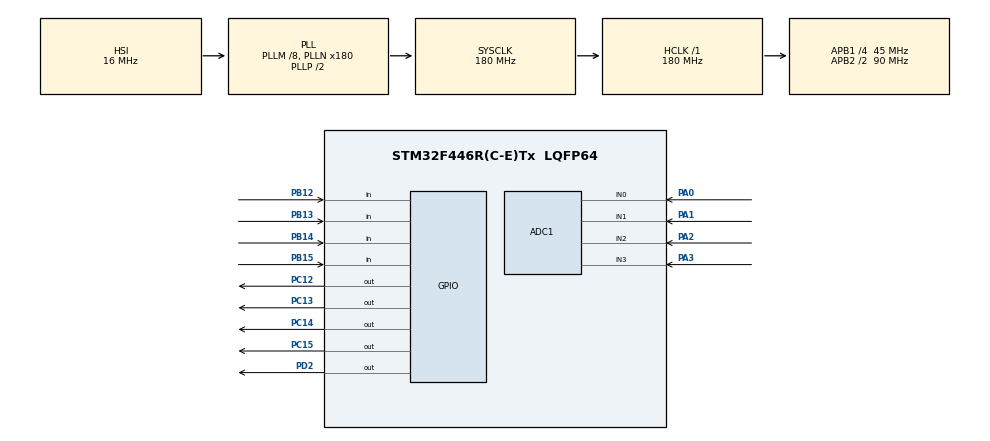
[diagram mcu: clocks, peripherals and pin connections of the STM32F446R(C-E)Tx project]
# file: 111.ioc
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ADC1.Channel-0\#ChannelRegularConversion=ADC_CHANNEL_0
ADC1.Channel-1\#ChannelInjectedConversion=ADC_CHANNEL_0
ADC1.Channel-2\#ChannelInjectedConversion=ADC_CHANNEL_0
ADC1.Channel-3\#ChannelInjectedConversion=ADC_CHANNEL_0
ADC1.Channel-5\#ChannelInjectedConversion=ADC_CHANNEL_0
ADC1.Channel-6\#ChannelRegularConversion=ADC_CHANNEL_1
ADC1.Channel-7\#ChannelRegularConversion=ADC_CHANNEL_2
ADC1.Channel-8\#ChannelRegularConversion=ADC_CHANNEL_3
ADC1.DMAContinuousRequests=ENABLE
ADC1.EOCSelection=ADC_EOC_SINGLE_CONV
ADC1.ExternalTrigConv=ADC_EXTERNALTRIGCONV_T8_TRGO
ADC1.InjNumberOfConversion=4
ADC1.InjectedOffset-1\#ChannelInjectedConversion=0
ADC1.InjectedOffset-2\#ChannelInjectedConversion=0
ADC1.InjectedOffset-3\#ChannelInjectedConversion=0
ADC1.InjectedOffset-5\#ChannelInjectedConversion=0
ADC1.InjectedRank-1\#ChannelInjectedConversion=1
ADC1.InjectedRank-2\#ChannelInjectedConversion=2
ADC1.InjectedRank-3\#ChannelInjectedConversion=3
ADC1.InjectedRank-5\#ChannelInjectedConversion=4
ADC1.NbrOfConversion=4
ADC1.NbrOfConversionFlag=1
ADC1.Rank-0\#ChannelRegularConversion=1
ADC1.Rank-6\#ChannelRegularConversion=2
ADC1.Rank-7\#ChannelRegularConversion=3
ADC1.Rank-8\#ChannelRegularConversion=4
ADC1.SamplingTime-0\#ChannelRegularConversion=ADC_SAMPLETIME_15CYCLES
ADC1.SamplingTime-1\#ChannelInjectedConversion=ADC_SAMPLETIME_3CYCLES
ADC1.SamplingTime-2\#ChannelInjectedConversion=ADC_SAMPLETIME_3CYCLES
ADC1.SamplingTime-3\#ChannelInjectedConversion=ADC_SAMPLETIME_3CYCLES
ADC1.SamplingTime-5\#ChannelInjectedConversion=ADC_SAMPLETIME_3CYCLES
ADC1.SamplingTime-6\#ChannelRegularConversion=ADC_SAMPLETIME_15CYCLES
ADC1.SamplingTime-7\#ChannelRegularConversion=ADC_SAMPLETIME_15CYCLES
ADC1.SamplingTime-8\#ChannelRegularConversion=ADC_SAMPLETIME_15CYCLES
ADC1.master=1
Dma.ADC1.0.Direction=DMA_PERIPH_TO_MEMORY
Dma.ADC1.0.FIFOMode=DMA_FIFOMODE_DISABLE
Dma.ADC1.0.Instance=DMA2_Stream0
Dma.ADC1.0.MemDataAlignment=DMA_MDATAALIGN_WORD
Dma.ADC1.0.MemInc=DMA_MINC_ENABLE
Dma.ADC1.0.Mode=DMA_CIRCULAR
Dma.ADC1.0.PeriphDataAlignment=DMA_PDATAALIGN_WORD
Dma.ADC1.0.PeriphInc=DMA_PINC_DISABLE
Dma.ADC1.0.Priority=DMA_PRIORITY_LOW
Dma.Request0=ADC1
Mcu.Family=STM32F4
Mcu.Name=STM32F446R(C-E)Tx
Mcu.Package=LQFP64
NVIC.ADC_IRQn=true\:0\:0\:false\:false\:true\:true\:true\:true
NVIC.DMA2_Stream0_IRQn=true\:0\:0\:false\:false\:true\:false\:true\:true
NVIC.PriorityGroup=NVIC_PRIORITYGROUP_4
NVIC.TIM8_UP_TIM13_IRQn=true\:0\:0\:false\:false\:true\:true\:true\:true
PA0-WKUP.Signal=ADCx_IN0
PA1.Signal=ADCx_IN1
PA13.Mode=Serial_Wire
PA13.Signal=SYS_JTMS-SWDIO
PA14.Mode=Serial_Wire
PA14.Signal=SYS_JTCK-SWCLK
PA2.Signal=ADCx_IN2
PA3.Signal=ADCx_IN3
PB12.Signal=GPIO_Input
PB13.Signal=GPIO_Input
PB14.Signal=GPIO_Input
PB15.Signal=GPIO_Input
PC12.Signal=GPIO_Output
PC13.Signal=GPIO_Output
PC14-OSC32_IN.Signal=GPIO_Output
PC15-OSC32_OUT.Signal=GPIO_Output
PD2.Signal=GPIO_Output
PH0-OSC_IN.Mode=HSE-External-Oscillator
PH0-OSC_IN.Signal=RCC_OSC_IN
PH1-OSC_OUT.Mode=HSE-External-Oscillator
PH1-OSC_OUT.Signal=RCC_OSC_OUT
ProjectManager.HeapSize=0x200
ProjectManager.StackSize=0x400
ProjectManager.TargetToolchain=STM32CubeIDE
RCC.AHBFreq_Value=180000000
RCC.APB1CLKDivider=RCC_HCLK_DIV4
RCC.APB1Freq_Value=45000000
RCC.APB1TimFreq_Value=90000000
RCC.APB2CLKDivider=RCC_HCLK_DIV2
RCC.APB2Freq_Value=90000000
RCC.APB2TimFreq_Value=180000000
RCC.CortexFreq_Value=180000000
RCC.HCLKFreq_Value=180000000
RCC.HSE_VALUE=16000000
RCC.PLLM=8
RCC.PLLN=180
RCC.SYSCLKFreq_VALUE=180000000
RCC.SYSCLKSource=RCC_SYSCLKSOURCE_PLLCLK
RCC.USBFreq_Value=180000000
RCC.VCOOutputFreq_Value=360000000
SH.ADCx_IN0.0=ADC1_IN0,IN0
SH.ADCx_IN1.0=ADC1_IN1,IN1
SH.ADCx_IN2.0=ADC1_IN2,IN2
SH.ADCx_IN3.0=ADC1_IN3,IN3
TIM8.Period=10000-1
TIM8.Prescaler=180-1
TIM8.TIM_MasterOutputTrigger=TIM_TRGO_UPDATE
VP_TIM8_VS_ClockSourceINT.Mode=Internal
board=custom

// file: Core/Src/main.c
/* USER CODE BEGIN Header */
/**
  ******************************************************************************
  * @file           : main.c
  * @brief          : Main program body
  ******************************************************************************
  * @attention
  *
  * Copyright (c) 2024 STMicroelectronics.
  * All rights reserved.
  *
  * This software is licensed under terms that can be found in the LICENSE file
  * in the root directory of this software component.
  * If no LICENSE file comes with this software, it is provided AS-IS.
  *
  ******************************************************************************
  */
/* USER CODE END Header */
#include "main.h"
#include "adc.h"
#include "dma.h"
#include "tim.h"
#include "gpio.h"

/* USER CODE BEGIN PV */
uint32_t adc1_buffer[4]={0,};
int max;
int min=30000;
int adcvalue;

/* USER CODE END PV */

void SystemClock_Config(void);

int main(void)
{

  /* MCU Configuration--------------------------------------------------------*/

  /* Reset of all peripherals, Initializes the Flash interface and the Systick. */
  HAL_Init();

  /* Configure the system clock */
  SystemClock_Config();

  /* Initialize all configured peripherals */
  MX_GPIO_Init();
  MX_DMA_Init();
  MX_ADC1_Init();
  MX_TIM8_Init();
  /* USER CODE BEGIN 2 */
HAL_TIM_Base_Start_IT(&htim8);
HAL_ADC_Start_DMA(&hadc1, adc1_buffer, 4);

  /* USER CODE END 2 */

  /* Infinite loop */
  while (1)
  {

    /* USER CODE BEGIN 3 */
	  //adcvalue = adc1_buffer;

if(max<=adcvalue)
{
	max=adcvalue;
}

if(min>=adcvalue)
{
	min=adcvalue;
}

adcvalue=(adcvalue-min)/(max-min);

  }

 // }
  /* USER CODE END 3 */
}

void SystemClock_Config(void)
{
  RCC_OscInitTypeDef RCC_OscInitStruct = {0};
  RCC_ClkInitTypeDef RCC_ClkInitStruct = {0};

  /** Configure the main internal regulator output voltage
  */
  __HAL_RCC_PWR_CLK_ENABLE();
  __HAL_PWR_VOLTAGESCALING_CONFIG(PWR_REGULATOR_VOLTAGE_SCALE1);

  /** Initializes the RCC Oscillators according to the specified parameters
  * in the RCC_OscInitTypeDef structure.
  */
  RCC_OscInitStruct.OscillatorType = RCC_OSCILLATORTYPE_HSI;
  RCC_OscInitStruct.HSIState = RCC_HSI_ON;
  RCC_OscInitStruct.HSICalibrationValue = RCC_HSICALIBRATION_DEFAULT;
  RCC_OscInitStruct.PLL.PLLState = RCC_PLL_ON;
  RCC_OscInitStruct.PLL.PLLSource = RCC_PLLSOURCE_HSI;
  RCC_OscInitStruct.PLL.PLLM = 8;
  RCC_OscInitStruct.PLL.PLLN = 180;
  RCC_OscInitStruct.PLL.PLLP = RCC_PLLP_DIV2;
  RCC_OscInitStruct.PLL.PLLQ = 2;
  RCC_OscInitStruct.PLL.PLLR = 2;
  if (HAL_RCC_OscConfig(&RCC_OscInitStruct) != HAL_OK)
  {
    Error_Handler();
  }

  /** Activate the Over-Drive mode
  */
  if (HAL_PWREx_EnableOverDrive() != HAL_OK)
  {
    Error_Handler();
  }

  /** Initializes the CPU, AHB and APB buses clocks
  */
  RCC_ClkInitStruct.ClockType = RCC_CLOCKTYPE_HCLK|RCC_CLOCKTYPE_SYSCLK
                              |RCC_CLOCKTYPE_PCLK1|RCC_CLOCKTYPE_PCLK2;
  RCC_ClkInitStruct.SYSCLKSource = RCC_SYSCLKSOURCE_PLLCLK;
  RCC_ClkInitStruct.AHBCLKDivider = RCC_SYSCLK_DIV1;
  RCC_ClkInitStruct.APB1CLKDivider = RCC_HCLK_DIV4;
  RCC_ClkInitStruct.APB2CLKDivider = RCC_HCLK_DIV2;

  if (HAL_RCC_ClockConfig(&RCC_ClkInitStruct, FLASH_LATENCY_5) != HAL_OK)
  {
    Error_Handler();
  }
}

/* USER CODE BEGIN 4 */
void HAL_ADC_ConvCpltCallback(ADC_HandleTypeDef* hadc)
{
	max++;
	//adcvalue=(int)adc1_buffer[0];
	if(hadc->Instance==hadc1.Instance)
	{
		min++;
		//adcvalue=(int)adc1_buffer[0];
	}

}
/* USER CODE END 4 */

void Error_Handler(void)
{
  __disable_irq();
  while (1)
  {
  }
}
